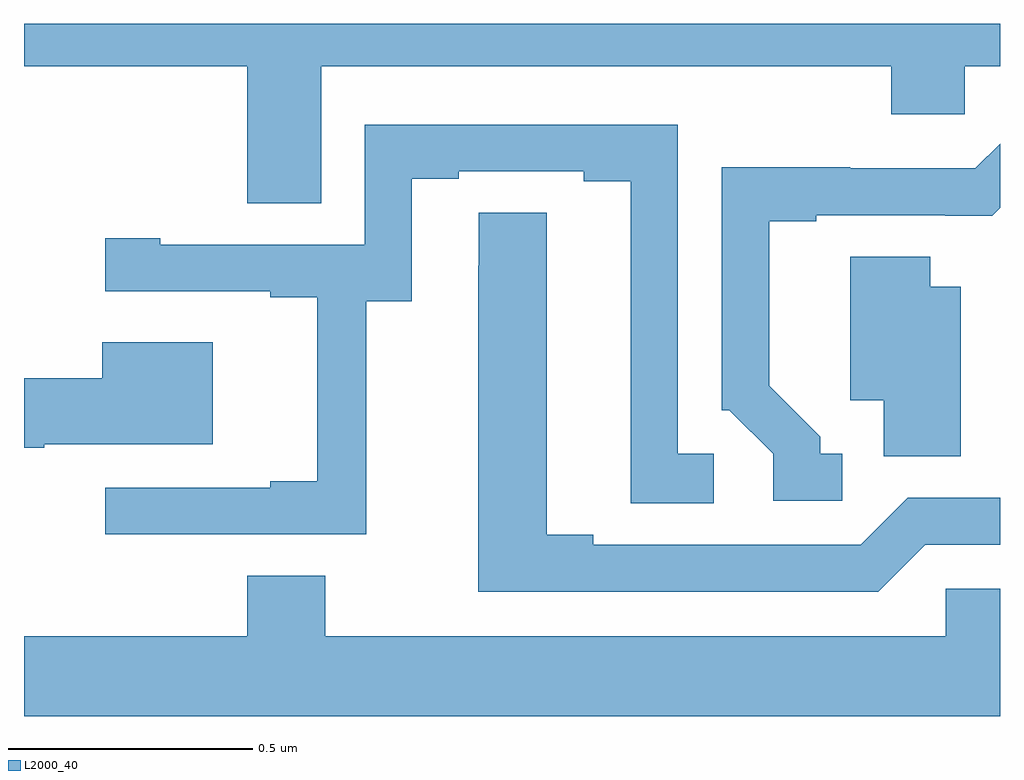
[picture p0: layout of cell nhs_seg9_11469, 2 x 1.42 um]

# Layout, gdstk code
import gdstk
lib = gdstk.Library(unit=1e-6, precision=1e-09)
def P(c, l, *ps):  # polygons
    for p in ps: c.add(gdstk.Polygon(p, *l))
L2000_40 = (2000, 40)

nhs_seg9_11469 = lib.new_cell('nhs_seg9_11469')
P(nhs_seg9_11469, L2000_40, [(256,1204.412),(256.457,1204.412),(256.457,1204.132),(256.609,1204.132),(256.609,1204.412),(257.777,1204.412),(257.777,1204.314),(257.928,1204.314),(257.928,1204.412),(258,1204.412),(258,1204.5),(256,1204.5)],
  [(256.701,1203.931),(256.795,1203.931),(256.795,1204.182),(256.891,1204.182),(256.891,1204.197),(257.147,1204.197),(257.147,1204.177),(257.243,1204.177),(257.243,1203.517),(257.413,1203.517),(257.413,1203.618),(257.34,1203.618),(257.34,1204.293),(256.698,1204.293),(256.698,1204.047),(256.279,1204.047),(256.279,1204.06),(256.166,1204.06),(256.166,1203.951),(256.505,1203.951),(256.505,1203.939),(256.601,1203.939),(256.601,1203.562),(256.505,1203.562),(256.505,1203.549),(256.166,1203.549),(256.166,1203.453),(256.701,1203.453)],
  [(257.677,1203.618),(257.632,1203.618),(257.632,1203.653),(257.527,1203.758),(257.527,1204.095),(257.623,1204.095),(257.623,1204.107),(257.888,1204.107),(257.888,1204.106),(257.984,1204.106),(258,1204.122),(258,1204.254),(257.949,1204.203),(257.693,1204.203),(257.693,1204.205),(257.43,1204.205),(257.43,1203.708),(257.445,1203.708),(257.535,1203.618),(257.535,1203.522),(257.677,1203.522)],
  [(257.847,1203.432),(258,1203.432),(258,1203.528),(257.811,1203.528),(257.715,1203.432),(257.167,1203.432),(257.167,1203.452),(257.071,1203.452),(257.071,1204.112),(256.932,1204.112),(256.932,1204.004),(256.931,1204.004),(256.931,1203.336),(257.751,1203.336)],
  [(257.92,1203.961),(257.857,1203.961),(257.857,1204.022),(257.693,1204.022),(257.693,1203.728),(257.762,1203.728),(257.762,1203.613),(257.92,1203.613)],
  [(256.042,1203.638),(256.387,1203.638),(256.387,1203.847),(256.16,1203.847),(256.16,1203.773),(256,1203.773),(256,1203.631),(256.042,1203.631)],
  [(258,1203.342),(257.889,1203.342),(257.889,1203.244),(256.617,1203.244),(256.617,1203.368),(256.457,1203.368),(256.457,1203.244),(256,1203.244),(256,1203.08),(258,1203.08)])

lib.write_gds('nhs_seg9_11469.gds')
